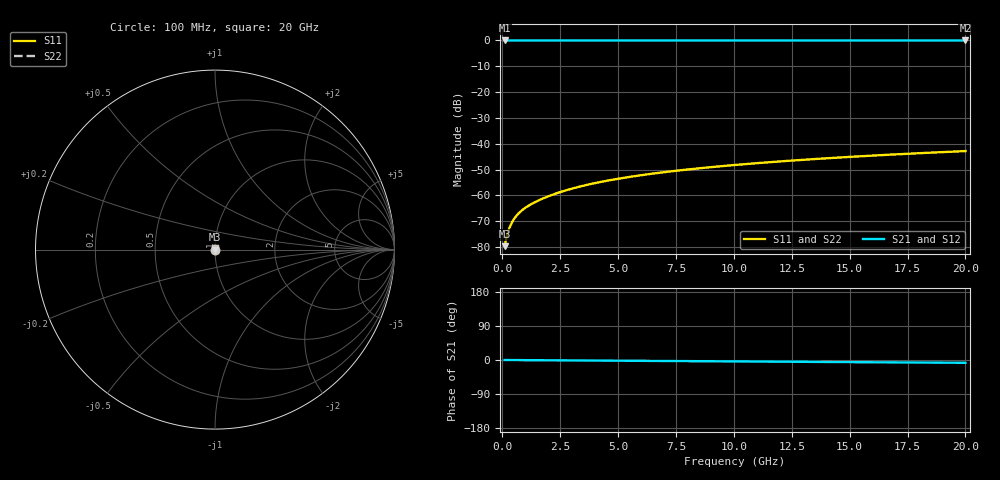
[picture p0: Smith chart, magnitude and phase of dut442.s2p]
! Touchstone file exported from HFSS 2026.1.0
!  File:  C:/ffzhzh/LocalFiles/Ansys_Project_Files/temp_train_TSV_442_1783021479_46388.aedt
!  Generated:  03:46:21 AM Jul  3, 2026
!  Design:  TSV
!  Project:  temp_train_TSV_442_1783021479_46388
! Variables:
!  h_bsmrdl = 2um
!  h_ox = 20um
!  h_rdl = 5um
!  h_sub = 70.34um
!  h_tmrdl = 5um
!  h_tsv = 70.34um
!  h_via = 3um
!  l_bsmrdl = 300um
!  l_sub = 426.58um
!  l_tmrdl = 200um
!  m_sub = 200um
!  pitch = 55.83um
!  r_tsv = 13.29um
!  s_tmrdl = 10um
!  w_bsmrdl = 18um
!  w_sub = 500um
!  w_tmrdl = 12um
!  x_tsv_center1 = 206um
!  x_tsv_center2 = 524um
!  x_tsv_center3 = 736um
!  x_tsv_center4 = 1054um
!  x_tsv_center5 = 1266um
!  x_tsv_center6 = 1584um
# GHz S MA R 50.000000
! Terminal data exported
! Port[1] = TSV1_1_T1
! Port[2] = TSV1_1_T2
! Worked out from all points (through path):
!   200 points, 100 MHz to 20 GHz, reference 50 ohm
!   highest |S21| = 0.00 dB at 100 MHz (marker M1); lowest = 0.0 dB at 20 GHz (marker M2)
!   group delay of S21, straight-line fit = 1.03 ps
!   lowest |S11| = -79.6 dB at 100 MHz (marker M3), VSWR 1.00, Z = 50 + j0.0072 ohm
!   |S11| at or under -10 dB: start of sweep to end of sweep
!   |S22| runs from -79.6 to -42.8 dB; largest |S21 - S12| = 3.4e-15
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0.1  0.0001045 43.5  0.9999 -0.0  0.9999 -0.0  0.0001045 43.5
! Gamma 0 0 0 0
! Port Impedance 50 0 50 0
0.2  0.0001658 58.3  0.9999 -0.1  0.9999 -0.1  0.0001658 58.3
0.3  0.0002298 63.2  0.9999 -0.1  0.9999 -0.1  0.0002298 63.2
0.4  0.0002908 64.9  0.9999 -0.2  0.9999 -0.2  0.0002908 64.9
0.5  0.0003475 65.6  0.9999 -0.2  0.9999 -0.2  0.0003474 65.6
0.6  0.0003997 65.8  0.9998 -0.2  0.9998 -0.2  0.0003997 65.8
0.7  0.0004483 66.0  0.9998 -0.3  0.9998 -0.3  0.0004483 66.0
0.9  0.0005374 66.5  0.9998 -0.3  0.9998 -0.3  0.0005374 66.5
1.1  0.0006199 67.3  0.9998 -0.4  0.9998 -0.4  0.0006199 67.3
1.3  0.0006992 68.1  0.9997 -0.5  0.9997 -0.5  0.0006992 68.1
1.6  0.0008157 69.4  0.9997 -0.6  0.9997 -0.6  0.0008157 69.4
1.9  0.0009314 70.6  0.9997 -0.7  0.9997 -0.7  0.0009314 70.5
2.6  0.001201 72.6  0.9997 -1.0  0.9997 -1.0  0.001201 72.6
3.5  0.001546 74.2  0.9996 -1.3  0.9996 -1.3  0.001546 74.2
4.2  0.00181 74.9  0.9996 -1.6  0.9996 -1.6  0.00181 74.9
5  0.002107 75.4  0.9995 -1.9  0.9995 -1.9  0.002107 75.4
6.8  0.002758 76.1  0.9995 -2.5  0.9995 -2.5  0.002758 76.1
8.3  0.003287 76.3  0.9994 -3.1  0.9994 -3.1  0.003287 76.3
10.1  0.003913 76.5  0.9993 -3.8  0.9993 -3.8  0.003914 76.5
13.4  0.005043 76.3  0.9992 -5.0  0.9992 -5.0  0.005043 76.3
16.7  0.006151 75.9  0.9991 -6.2  0.9991 -6.2  0.006151 75.8
20  0.007232 75.1  0.999 -7.4  0.999 -7.4  0.007232 75.1
